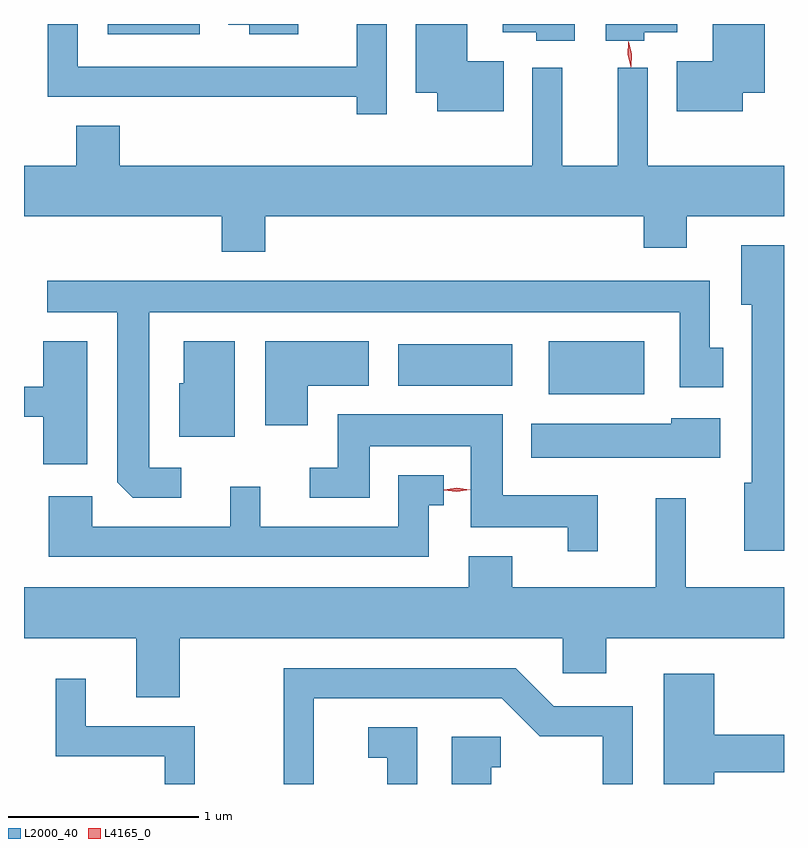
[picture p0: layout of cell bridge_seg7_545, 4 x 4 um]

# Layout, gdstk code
import gdstk
lib = gdstk.Library(unit=1e-6, precision=1e-09)
def R(c, l, rs):  # rectangles x0, y0, x1, y1
    for r in rs: c.add(gdstk.rectangle(r[:2], r[2:], *l))
def P(c, l, *ps):  # polygons
    for p in ps: c.add(gdstk.Polygon(p, *l))
L2000_40 = (2000, 40)
L4165_0 = (4165, 0)

bridge_seg7_545 = lib.new_cell('bridge_seg7_545')
R(bridge_seg7_545, L2000_40, [(963.871,1773.321,964.374,1773.599), (963.081,1773.366,963.679,1773.584), (961.551,1775.216,962.034,1775.269)])
P(bridge_seg7_545, L2000_40, [(963.634,1775.074),(963.444,1775.074),(963.444,1775.269),(963.171,1775.269),(963.171,1774.906),(963.286,1774.906),(963.286,1774.811),(963.634,1774.811)],
  [(964.374,1775.226),(964.549,1775.226),(964.549,1775.269),(964.171,1775.269),(964.171,1775.181),(964.374,1775.181)],
  [(964.894,1774.906),(965.009,1774.906),(965.009,1775.269),(964.736,1775.269),(964.736,1775.074),(964.546,1775.074),(964.546,1774.811),(964.894,1774.811)],
  [(962.554,1775.269),(962.186,1775.269),(962.186,1775.266),(962.296,1775.266),(962.296,1775.216),(962.554,1775.216)],
  [(964.009,1775.269),(963.631,1775.269),(963.631,1775.226),(963.806,1775.226),(963.806,1775.181),(964.009,1775.181)],
  [(963.019,1775.269),(962.861,1775.269),(962.861,1775.044),(961.394,1775.044),(961.394,1775.269),(961.236,1775.269),(961.236,1774.886),(962.861,1774.886),(962.861,1774.793),(963.019,1774.793)],
  [(962.379,1774.256),(964.371,1774.256),(964.371,1774.091),(964.599,1774.091),(964.599,1774.256),(965.11,1774.256),(965.11,1774.524),(964.394,1774.524),(964.394,1775.038),(964.236,1775.038),(964.236,1774.524),(963.944,1774.524),(963.944,1775.038),(963.786,1775.038),(963.786,1774.524),(961.614,1774.524),(961.614,1774.734),(961.386,1774.734),(961.386,1774.524),(961.11,1774.524),(961.11,1774.256),(962.151,1774.256),(962.151,1774.071),(962.379,1774.071)],
  [(965.11,1774.104),(964.886,1774.104),(964.886,1773.791),(964.941,1773.791),(964.941,1772.854),(964.901,1772.854),(964.901,1772.496),(965.11,1772.496)],
  [(961.938,1772.934),(961.769,1772.934),(961.769,1773.751),(964.561,1773.751),(964.561,1773.356),(964.789,1773.356),(964.789,1773.564),(964.719,1773.564),(964.719,1773.919),(961.233,1773.919),(961.233,1773.751),(961.601,1773.751),(961.601,1772.857),(961.682,1772.776),(961.938,1772.776)],
  [(962.604,1773.366),(962.924,1773.366),(962.924,1773.599),(962.381,1773.599),(962.381,1773.156),(962.604,1773.156)],
  [(962.219,1773.599),(961.951,1773.599),(961.951,1773.379),(961.926,1773.379),(961.926,1773.096),(962.219,1773.096)],
  [(961.444,1773.599),(961.211,1773.599),(961.211,1773.359),(961.11,1773.359),(961.11,1773.201),(961.211,1773.201),(961.211,1772.951),(961.444,1772.951)],
  [(964.129,1772.789),(963.629,1772.789),(963.629,1773.214),(962.761,1773.214),(962.761,1772.934),(962.613,1772.934),(962.613,1772.776),(962.929,1772.776),(962.929,1773.046),(963.461,1773.046),(963.461,1772.621),(963.971,1772.621),(963.971,1772.493),(964.129,1772.493)],
  [(964.774,1773.194),(964.516,1773.194),(964.516,1773.164),(963.781,1773.164),(963.781,1772.986),(964.774,1772.986)],
  [(963.239,1772.736),(963.318,1772.736),(963.318,1772.894),(963.081,1772.894),(963.081,1772.624),(962.354,1772.624),(962.354,1772.833),(962.196,1772.833),(962.196,1772.624),(961.469,1772.624),(961.469,1772.784),(961.241,1772.784),(961.241,1772.466),(963.239,1772.466)],
  [(961.929,1772.036),(963.946,1772.036),(963.946,1771.851),(964.174,1771.851),(964.174,1772.036),(965.11,1772.036),(965.11,1772.304),(964.594,1772.304),(964.594,1772.773),(964.436,1772.773),(964.436,1772.304),(963.679,1772.304),(963.679,1772.469),(963.451,1772.469),(963.451,1772.304),(961.11,1772.304),(961.11,1772.036),(961.701,1772.036),(961.701,1771.726),(961.929,1771.726)],
  [(962.634,1771.721),(963.624,1771.721),(963.824,1771.521),(964.156,1771.521),(964.156,1771.269),(964.314,1771.269),(964.314,1771.679),(963.897,1771.679),(963.697,1771.879),(962.476,1771.879),(962.476,1771.269),(962.634,1771.269)],
  [(964.744,1771.331),(965.11,1771.331),(965.11,1771.529),(964.744,1771.529),(964.744,1771.849),(964.476,1771.849),(964.476,1771.269),(964.744,1771.269)],
  [(962.009,1771.574),(961.434,1771.574),(961.434,1771.823),(961.276,1771.823),(961.276,1771.416),(961.851,1771.416),(961.851,1771.269),(962.009,1771.269)],
  [(963.179,1771.569),(962.923,1771.569),(962.923,1771.406),(963.021,1771.406),(963.021,1771.269),(963.179,1771.269)],
  [(963.569,1771.356),(963.618,1771.356),(963.618,1771.519),(963.361,1771.519),(963.361,1771.269),(963.569,1771.269)])
P(bridge_seg7_545, L4165_0, [(964.304,1775.042),(964.304,1775.043),(964.288,1775.108),(964.291,1775.175),(964.291,1775.175),(964.292,1775.175),(964.308,1775.11),(964.305,1775.043)],
  [(963.388,1772.807),(963.319,1772.816),(963.319,1772.817),(963.319,1772.817),(963.388,1772.827),(963.458,1772.818),(963.458,1772.818),(963.458,1772.817)])

lib.write_gds('bridge_seg7_545.gds')
